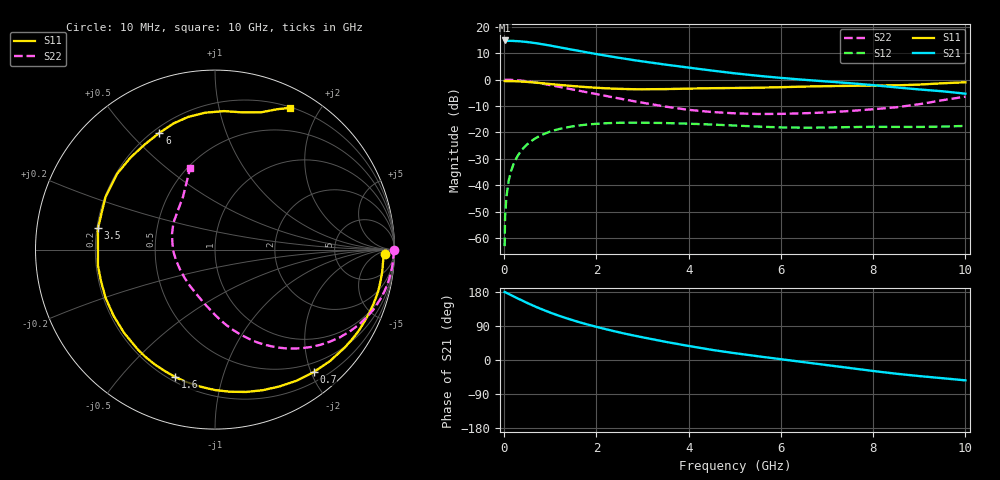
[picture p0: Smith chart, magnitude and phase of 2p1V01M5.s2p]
! (c) 2009  Infineon Technologies AG, Munich
! Infineon Technologies  Discrete & RF Semiconductors
! BFP420
! VCE =  1.0 V,  IC =  1.5 mA
! Common Emitter S-Parameters:  Nov 2009
# GHz  S  MA  R  50
!  f  S11  S21  S12  S22
! GHz  MAG  ANG  MAG  ANG  MAG  ANG  MAG  ANG
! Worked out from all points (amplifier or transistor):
!   46 points, 10 MHz to 10 GHz, reference 50 ohm
!   highest |S21| = 14.9 dB at 10 MHz (marker M1)
!   |S21| within 3 dB of that: start of sweep to 1.324 GHz
!   unconditionally stable (mu >= 1): 4.133 GHz to end of sweep
!   at 300 MHz: K = 0.04, MSG = 21.6 dB, |S12| = -28.7 dB
!   at 1.7 GHz: K = 0.34, MSG = 13.9 dB, |S12| = -17.2 dB
!   at 10 GHz: K = 1.25, MAG = 3.1 dB, |S12| = -17.5 dB
!   lowest NFmin = 0.52 dB at 900 MHz
!   S11 on the Smith chart (normalised r, x): 10 MHz: 29, -14; 700 MHz: 0.35, -2.04; 1.6 GHz: 0.22, -0.71; 3.5 GHz: 0.20, +0.09; 6 GHz: 0.22, +0.61; 10 GHz: 0.21, +1.64
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0.01  0.9451 -1.5  5.537 179.4  0.0007 82.0  0.9946 -0.1
0.02  0.9427 -1.6  5.374 179.2  0.0025 89.7  0.9947 -0.9
0.05  0.939 -3.7  5.409 177.1  0.0061 88.1  0.9946 -2.3
0.1  0.9397 -7.5  5.445 174.2  0.0124 85.7  0.9928 -4.7
0.15  0.9389 -11.1  5.441 171.1  0.0186 83.6  0.9895 -7.1
0.3  0.9292 -22.3  5.365 162.2  0.0367 76.6  0.9713 -14.1
0.45  0.9126 -33.3  5.227 153.5  0.054 69.9  0.9427 -20.9
0.7  0.8762 -51.2  4.901 139.7  0.0796 59.2  0.8783 -31.3
0.9  0.8432 -64.7  4.581 129.8  0.0965 51.5  0.8195 -38.8
1.1  0.8117 -77.7  4.262 120.7  0.1106 44.5  0.7601 -45.6
1.4  0.7678 -96.0  3.809 108.3  0.1267 35.0  0.6748 -54.6
1.6  0.7441 -107.3  3.538 100.8  0.1346 29.6  0.623 -59.8
1.7  0.7316 -112.7  3.415 97.3  0.1382 27.0  0.5991 -62.3
2.2  0.6871 -137.5  2.86 81.4  0.1494 15.6  0.4935 -73.4
2.6  0.6665 -155.9  2.509 70.0  0.153 7.7  0.4231 -81.7
3.5  0.6631 169.7  1.929 48.0  0.1506 -5.8  0.3086 -100.6
4.5  0.6898 142.1  1.49 26.8  0.1412 -15.8  0.244 -125.9
5.5  0.7047 123.7  1.186 9.9  0.1292 -21.0  0.2239 -150.7
6  0.7203 115.5  1.081 2.1  0.1247 -21.9  0.2248 -163.8
7  0.7545 101.3  0.924 -13.5  0.1239 -22.6  0.2396 171.8
8.5  0.7803 78.3  0.714 -36.2  0.1274 -27.4  0.2996 133.8
10  0.8926 62.2  0.543 -53.7  0.1332 -29.2  0.4767 106.9
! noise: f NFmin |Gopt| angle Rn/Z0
0.9  0.52  0.55  33  0.27
1.8  1.07  0.35  77  0.21
2.4  1.18  0.36  101  0.18
3  1.41  0.36  134  0.13
4  1.68  0.4  -172  0.1
5  2.08  0.44  -130  0.32
6  2.89  0.57  -114  0.39
